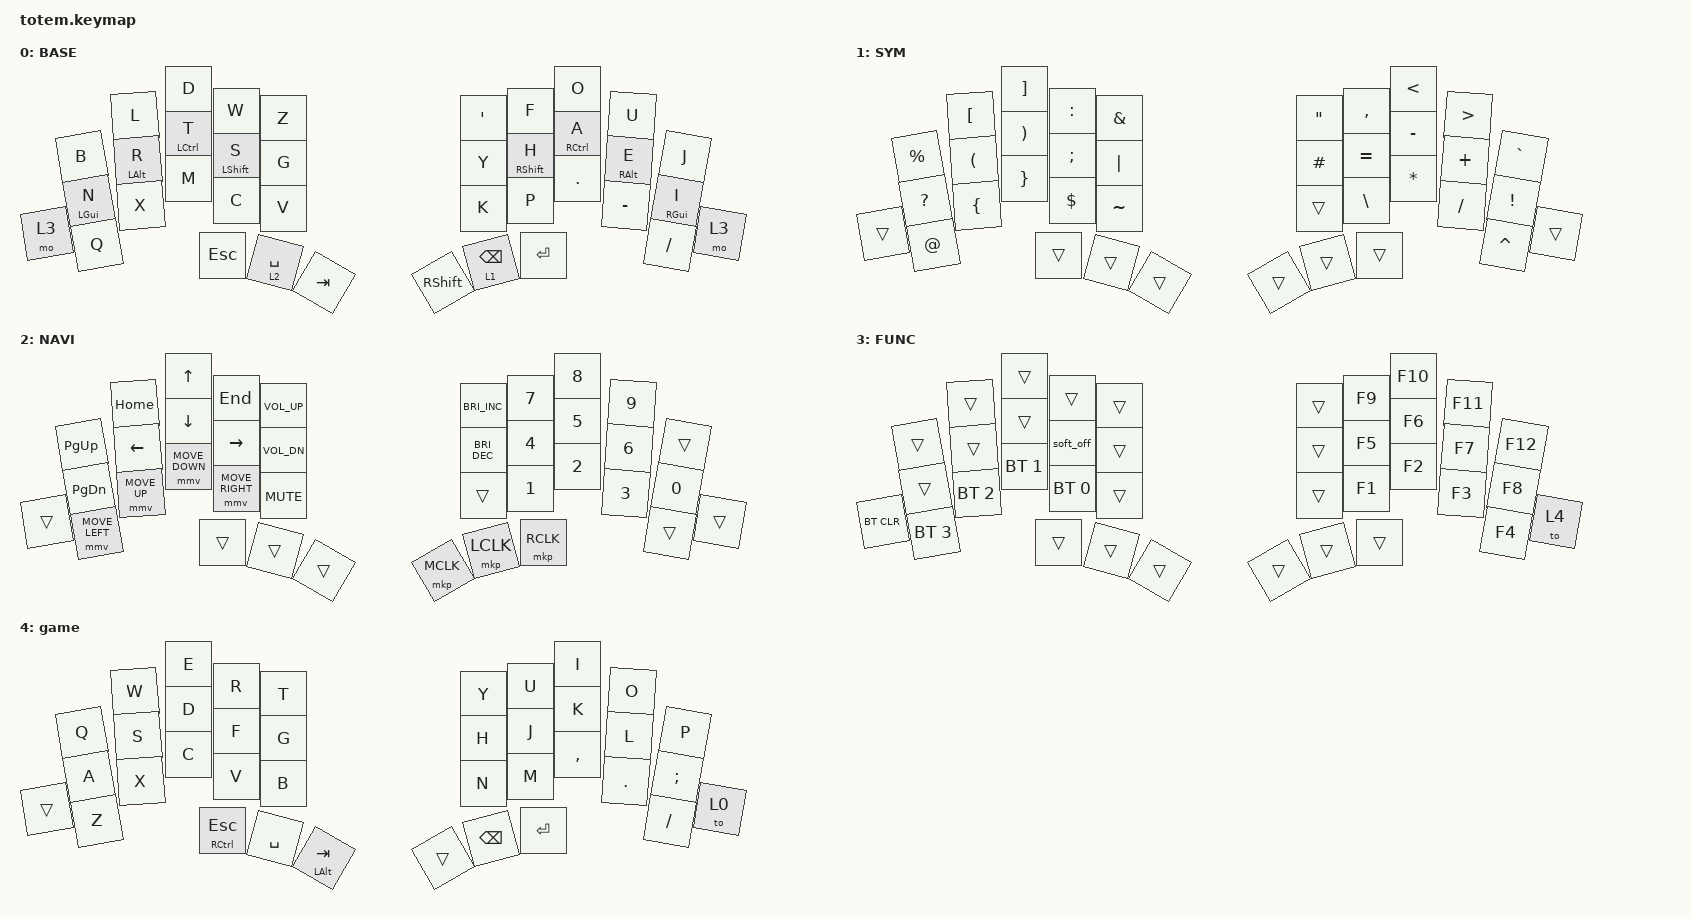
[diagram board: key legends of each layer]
//
//       ▀▀▀▀▀     ▀▀▀▀▀          ▀▀█▀▀
//       ▄▀▀▀▄  ▄  ▄▀▀▀▄  ▄  ▄▀▀▀▄  █  ▄▀▀▀▄
//       █   █  █  █   █  █  █   █  █  █   █
//        ▀▀▀   █   ▀▀▀   █   ▀▀▀   ▀   ▀▀▀
//              █      ▄▄▄█▄▄▄    █   █  
//              ▀      █  █  █     █▄█
//            ▀▀▀▀▀    █  █  █      ▀
//                     ▀  ▀  ▀
//
// ▄▄▄▄▄▄▄▄▄▄▄▄▄▄▄▄▄▄▄▄▄▄▄▄▄▄▄▄▄▄▄▄▄▄▄▄▄▄▄▄▄▄▄▄▄▄▄▄▄▄▄

#define ZMK_POINTING_DEFAULT_MOVE_VAL 1200

#include <behaviors.dtsi>
#include <dt-bindings/zmk/bt.h>
#include <dt-bindings/zmk/keys.h>
#include <dt-bindings/zmk/pointing.h>

&mt {
    quick-tap-ms = <100>;
    global-quick-tap;
    flavor = "tap-preferred";
    tapping-term-ms = <170>;
};

&sk { quick-release; };

/ {
    macros {
        updir: updir {
            compatible = "zmk,behavior-macro";
            #binding-cells = <0>;
            bindings = <&kp DOT &kp DOT &kp FSLH>;
        };

        cd: cd {
            compatible = "zmk,behavior-macro";
            #binding-cells = <0>;
            bindings = <&kp C &kp D &kp SPACE>;
        };

        vim: vim {
            compatible = "zmk,behavior-macro";
            #binding-cells = <0>;
            bindings = <&kp V &kp I &kp M &kp SPACE>;
        };

        cp: cp {
            compatible = "zmk,behavior-macro";
            #binding-cells = <0>;
            bindings = <&kp C &kp P &kp SPACE>;
        };
    };

    behaviors {
        /* Generic home row mod */

        hrm: hrm {
            compatible = "zmk,behavior-hold-tap";
            bindings = <&kp>, <&kp>;

            #binding-cells = <2>;
            tapping-term-ms = <320>;
            quick-tap-ms = <200>;
            require-prior-idle-ms = <200>;
            flavor = "balanced";
            hold-trigger-on-release;
        };

        /* Home row mods - left shift:
         * - No prior idle
         * - Only apply to right half before tapping-term-ms
         */

        hrm_lshft: hrm_lshft {
            compatible = "zmk,behavior-hold-tap";
            bindings = <&kp>, <&kp>;

            #binding-cells = <2>;
            tapping-term-ms = <350>;
            quick-tap-ms = <200>;
            require-prior-idle-ms = <0>;
            flavor = "balanced";
            hold-trigger-on-release;
            hold-trigger-key-positions = <5 6 7 8 9 15 16 17 18 19 26 27 28 29 30 31 35 36 37>;
        };

        /* Home row mods - right shift:
         * - No prior idle
         * - Only apply to left half before tapping-term-ms
         */

        hrm_rshft: hrm_rshft {
            compatible = "zmk,behavior-hold-tap";
            bindings = <&kp>, <&kp>;

            #binding-cells = <2>;
            tapping-term-ms = <350>;
            quick-tap-ms = <200>;
            require-prior-idle-ms = <0>;
            flavor = "balanced";
            hold-trigger-on-release;
            hold-trigger-key-positions = <0 1 2 3 4 10 11 12 13 14 20 21 22 23 24 25 32 33 34>;
        };

        /* Layer-tap but repeating the tap when double-tapping the key */

        lt_hold: lt_hold {
            compatible = "zmk,behavior-hold-tap";
            bindings = <&mo>, <&kp>;

            #binding-cells = <2>;
            tapping-term-ms = <200>;
            quick-tap-ms = <200>;
        };

        magic: magic {
            compatible = "zmk,behavior-adaptive-key";
            #binding-cells = <0>;
            bindings = <&sk RSHFT>;

            magic_ok {
                trigger-keys = <O>;
                max-prior-idle-ms = <1000>;
                bindings = <&kp K>;
            };

            magic_ph {
                trigger-keys = <P>;
                max-prior-idle-ms = <1000>;
                bindings = <&kp H>;
            };

            magic_hy {
                trigger-keys = <H>;
                max-prior-idle-ms = <1000>;
                bindings = <&kp Y>;
            };
        };
    };

    combos {
        compatible = "zmk,combos";

        //       ┏━━━━━┳━━━━━┳━━━━━┳━━━━━┳━━━━━┓   ┏━━━━━┳━━━━━┳━━━━━┳━━━━━┳━━━━━┓
        //       ┃  0  ┃  1  ┃  2  ┃  3  ┃  4  ┃   ┃  5  ┃  6  ┃  7  ┃  8  ┃  9  ┃
        //       ┣━━━━━╋━━━━━╋━━━━━╋━━━━━╋━━━━━┫   ┣━━━━━╋━━━━━╋━━━━━╋━━━━━╋━━━━━┫
        //       ┃  10 ┃  11 ┃  12 ┃  13 ┃  14 ┃   ┃  15 ┃  16 ┃  17 ┃  18 ┃  19 ┃
        // ┏━━━━━╋━━━━━╋━━━━━╋━━━━━╋━━━━━╋━━━━━┫   ┣━━━━━╋━━━━━╋━━━━━╋━━━━━╋━━━━━╋━━━━━┓
        // ┃  20 ┃  21 ┃  22 ┃  23 ┃  24 ┃  25 ┃   ┃  26 ┃  27 ┃  28 ┃  29 ┃  30 ┃  31 ┃
        // ┗━━━━━┻━━━━━┻━━━━━╋━━━━━╋━━━━━╋━━━━━┫   ┣━━━━━╋━━━━━╋━━━━━╋━━━━━┻━━━━━┻━━━━━┛
        //                   ┃  32 ┃  33 ┃  34 ┃   ┃  35 ┃  36 ┃  37 ┃
        //                   ┗━━━━━┻━━━━━┻━━━━━┛   ┗━━━━━┻━━━━━┻━━━━━┛

        cd {
            bindings = <&cd>;
            key-positions = <13 3>;
            layers = <0>;
        };

        vim {
            bindings = <&vim>;
            key-positions = <12 2>;
            layers = <0>;
        };

        caps {
            bindings = <&caps_word>;
            key-positions = <33 36>;
            layers = <0>;
        };

        studio_unlock {
            bindings = <&studio_unlock>;
            key-positions = <20 31>;
            layers = <0>;
        };
    };

    keymap {
        compatible = "zmk,keymap";

        // ▄▄▄▄▄▄▄▄▄▄▄▄▄▄▄▄▄▄▄▄▄▄▄▄▄▄▄▄▄▄▄▄▄▄▄▄▄▄▄▄▄▄▄▄▄▄▄▄▄▄▄▄▄▄▄▄▄▄▄▄▄▄▄▄▄▄▄▄▄▄▄▄▄▄▄▄▄▄▄▄▄▄▄▄▄▄▄▄▄▄▄▄▄▄▄▄▄▄▄▄▄▄▄▄▄▄▄▄▄▄▄▄▄▄▄▄▄▄▄▄▄▄▄▄▄▄▄▄▄▄▄▄▄▄▄▄▄▄▄▄▄▄▄▄▄▄▄▄▄

        base {
            //            ┏━━━━━━━┓

            display-name = "BASE";

            //            ┗━━━━━━━┛
            //       ┏━━━━━┳━━━━━┳━━━━━┳━━━━━┳━━━━━┓   ┏━━━━━┳━━━━━┳━━━━━┳━━━━━┳━━━━━┓
            //       ┃  B  ┃  L  ┃  D  ┃  W  ┃  Z  ┃   ┃  '  ┃  F  ┃  O  ┃  U  ┃  J  ┃
            //       ┣━━━━━╋━━━━━╋━━━━━╋━━━━━╋━━━━━┫   ┣━━━━━╋━━━━━╋━━━━━╋━━━━━╋━━━━━┫
            //       ┃  N  ┃  R  ┃  T  ┃  S  ┃  G  ┃   ┃  Y  ┃  H  ┃  A  ┃  E  ┃  I  ┃
            // ┏━━━━━╋━━━━━╋━━━━━╋━━━━━╋━━━━━╋━━━━━┫   ┣━━━━━╋━━━━━╋━━━━━╋━━━━━╋━━━━━╋━━━━━┓
            // ┃     ┃  Q  ┃  X  ┃  M  ┃  C  ┃  V  ┃   ┃  K  ┃  P  ┃  .  ┃  -  ┃  /  ┃     ┃
            // ┗━━━━━┻━━━━━┻━━━━━╋━━━━━╋━━━━━╋━━━━━┫   ┣━━━━━╋━━━━━╋━━━━━╋━━━━━┻━━━━━┻━━━━━┛
            //                   ┃ ESC ┃ SPC ┃ TAB ┃   ┃  ★  ┃ BSP ┃ RET ┃
            //                   ┗━━━━━┻━━━━━┻━━━━━┛   ┗━━━━━┻━━━━━┻━━━━━┛

            bindings = <
       &kp B        &kp L        &kp D         &kp W               &kp Z      &kp SQT          &kp F               &kp O         &kp U        &kp J
       &hrm LGUI N  &hrm LALT R  &hrm LCTRL T  &hrm_lshft LSHFT S  &kp G      &kp Y            &hrm_rshft RSHFT H  &hrm RCTRL A  &hrm RALT E  &hrm RGUI I
&mo 3  &kp Q        &kp X        &kp M         &kp C               &kp V      &kp K            &kp P               &kp DOT       &kp MINUS    &kp FSLH     &mo 3
                                 &kp ESC       &lt 2 SPACE         &kp TAB    &kp RIGHT_SHIFT  &lt_hold 1 BSPC     &kp ENTER
            >;
        };

        symbols {
            //            ┏━━━━━━┓

            display-name = "SYM";

            //            ┗━━━━━━┛
            //       ┏━━━━━┳━━━━━┳━━━━━┳━━━━━┳━━━━━┓   ┏━━━━━┳━━━━━┳━━━━━┳━━━━━┳━━━━━┓
            //       ┃  %  ┃  [  ┃  ]  ┃  :  ┃  &  ┃   ┃  "  ┃  ,  ┃  <  ┃  >  ┃  `  ┃
            //       ┣━━━━━╋━━━━━╋━━━━━╋━━━━━╋━━━━━┫   ┣━━━━━╋━━━━━╋━━━━━╋━━━━━╋━━━━━┫
            //       ┃  ?  ┃  (  ┃  )  ┃  ;  ┃  |  ┃   ┃  #  ┃  =  ┃  -  ┃  +  ┃  !  ┃
            // ┏━━━━━╋━━━━━╋━━━━━╋━━━━━╋━━━━━╋━━━━━┫   ┣━━━━━╋━━━━━╋━━━━━╋━━━━━╋━━━━━╋━━━━━┓
            // ┃     ┃  @  ┃  {  ┃  }  ┃  $  ┃  ~  ┃   ┃     ┃  \  ┃  *  ┃  /  ┃  ^  ┃     ┃
            // ┗━━━━━┻━━━━━┻━━━━━╋━━━━━╋━━━━━╋━━━━━┫   ┣━━━━━╋━━━━━╋━━━━━╋━━━━━┻━━━━━┻━━━━━┛
            //                   ┃     ┃     ┃     ┃   ┃     ┃     ┃     ┃
            //                   ┗━━━━━┻━━━━━┻━━━━━┛   ┗━━━━━┻━━━━━┻━━━━━┛

            bindings = <
        &kp PRCNT  &kp LBKT  &kp RBKT  &kp COLON  &kp AMPS     &kp DOUBLE_QUOTES  &kp COMMA  &kp LT     &kp GT     &kp GRAVE
        &kp QMARK  &kp LPAR  &kp RPAR  &kp SEMI   &kp PIPE     &kp HASH           &kp EQUAL  &kp MINUS  &kp PLUS   &kp EXCL
&trans  &kp AT     &kp LBRC  &kp RBRC  &kp DLLR   &kp TILDE    &trans             &kp BSLH   &kp ASTRK  &kp SLASH  &kp CARET  &trans
                             &trans    &trans     &trans       &trans             &trans     &trans
            >;
        };

        navigation {
            //            ┏━━━━━━━┓

            display-name = "NAVI";

            //            ┗━━━━━━━┛
            //       ┏━━━━━┳━━━━━┳━━━━━┳━━━━━┳━━━━━┓   ┏━━━━━┳━━━━━┳━━━━━┳━━━━━┳━━━━━┓
            //       ┃ pgup┃ home┃ up  ┃ end ┃ vol+┃   ┃bri+ ┃  7  ┃  8  ┃  9  ┃     ┃
            //       ┣━━━━━╋━━━━━╋━━━━━╋━━━━━╋━━━━━┫   ┣━━━━━╋━━━━━╋━━━━━╋━━━━━╋━━━━━┫
            //       ┃ pgdn┃ left┃ down┃right┃ vol-┃   ┃bri- ┃  4  ┃  5  ┃  6  ┃  0  ┃
            // ┏━━━━━╋━━━━━╋━━━━━╋━━━━━╋━━━━━╋━━━━━┫   ┣━━━━━╋━━━━━╋━━━━━╋━━━━━╋━━━━━╋━━━━━┓
            // ┃     ┃mleft┃mdown┃ mup ┃mrght┃ mute┃   ┃     ┃  1  ┃  2  ┃  3  ┃     ┃     ┃
            // ┗━━━━━┻━━━━━┻━━━━━╋━━━━━╋━━━━━╋━━━━━┫   ┣━━━━━╋━━━━━╋━━━━━╋━━━━━┻━━━━━┻━━━━━┛
            //                   ┃     ┃     ┃     ┃   ┃mclk ┃lclk ┃rclk ┃
            //                   ┗━━━━━┻━━━━━┻━━━━━┛   ┗━━━━━┻━━━━━┻━━━━━┛

            bindings = <
        &kp PG_UP       &kp HOME      &kp UP          &kp END          &kp C_VOL_UP    &kp C_BRIGHTNESS_INC  &kp N7     &kp N8     &kp N9  &trans
        &kp PG_DN       &kp LEFT      &kp DOWN        &kp RIGHT        &kp C_VOL_DN    &kp C_BRIGHTNESS_DEC  &kp N4     &kp N5     &kp N6  &kp N0
&trans  &mmv MOVE_LEFT  &mmv MOVE_UP  &mmv MOVE_DOWN  &mmv MOVE_RIGHT  &kp K_MUTE      &trans                &kp N1     &kp N2     &kp N3  &trans  &trans
                                      &trans          &trans           &trans          &mkp MCLK             &mkp LCLK  &mkp RCLK
            >;
        };

        functions {
            //            ┏━━━━━━━┓

            display-name = "FUNC";

            //            ┗━━━━━━━┛
            //       ┏━━━━━┳━━━━━┳━━━━━┳━━━━━┳━━━━━┓   ┏━━━━━┳━━━━━┳━━━━━┳━━━━━┳━━━━━┓
            //       ┃     ┃     ┃     ┃     ┃     ┃   ┃     ┃ F9  ┃ F10 ┃ F11 ┃ F12 ┃
            //       ┣━━━━━╋━━━━━╋━━━━━╋━━━━━╋━━━━━┫   ┣━━━━━╋━━━━━╋━━━━━╋━━━━━╋━━━━━┫
            //       ┃     ┃     ┃     ┃ off ┃     ┃   ┃     ┃ F5  ┃ F6  ┃ F7  ┃ F8  ┃
            // ┏━━━━━╋━━━━━╋━━━━━╋━━━━━╋━━━━━╋━━━━━┫   ┣━━━━━╋━━━━━╋━━━━━╋━━━━━╋━━━━━╋━━━━━┓
            // ┃BTCLR┃ BT3 ┃ BT2 ┃ BT1 ┃ BT0 ┃     ┃   ┃     ┃ F1  ┃ F2  ┃ F3  ┃ F4  ┃     ┃
            // ┗━━━━━┻━━━━━┻━━━━━╋━━━━━╋━━━━━╋━━━━━┫   ┣━━━━━╋━━━━━╋━━━━━╋━━━━━┻━━━━━┻━━━━━┛
            //                   ┃     ┃     ┃     ┃   ┃     ┃     ┃     ┃
            //                   ┗━━━━━┻━━━━━┻━━━━━┛   ┗━━━━━┻━━━━━┻━━━━━┛

            bindings = <
            &trans        &trans        &trans        &trans        &trans    &trans  &kp F9  &kp F10  &kp F11  &kp F12
            &trans        &trans        &trans        &soft_off     &trans    &trans  &kp F5  &kp F6   &kp F7   &kp F8
&bt BT_CLR  &bt BT_SEL 3  &bt BT_SEL 2  &bt BT_SEL 1  &bt BT_SEL 0  &trans    &trans  &kp F1  &kp F2   &kp F3   &kp F4   &to 4
                                        &trans        &trans        &trans    &trans  &trans  &trans
            >;
        };

        game {
            bindings = <
        &kp Q  &kp W  &kp E          &kp R      &kp T               &kp Y   &kp U     &kp I      &kp O    &kp P
        &kp A  &kp S  &kp D          &kp F      &kp G               &kp H   &kp J     &kp K      &kp L    &kp SEMI
&trans  &kp Z  &kp X  &kp C          &kp V      &kp B               &kp N   &kp M     &kp COMMA  &kp DOT  &kp FSLH  &to 0
                      &mt RCTRL ESC  &kp SPACE  &mt LEFT_ALT TAB    &trans  &kp BSPC  &kp ENTER
            >;
        };
    };
};
